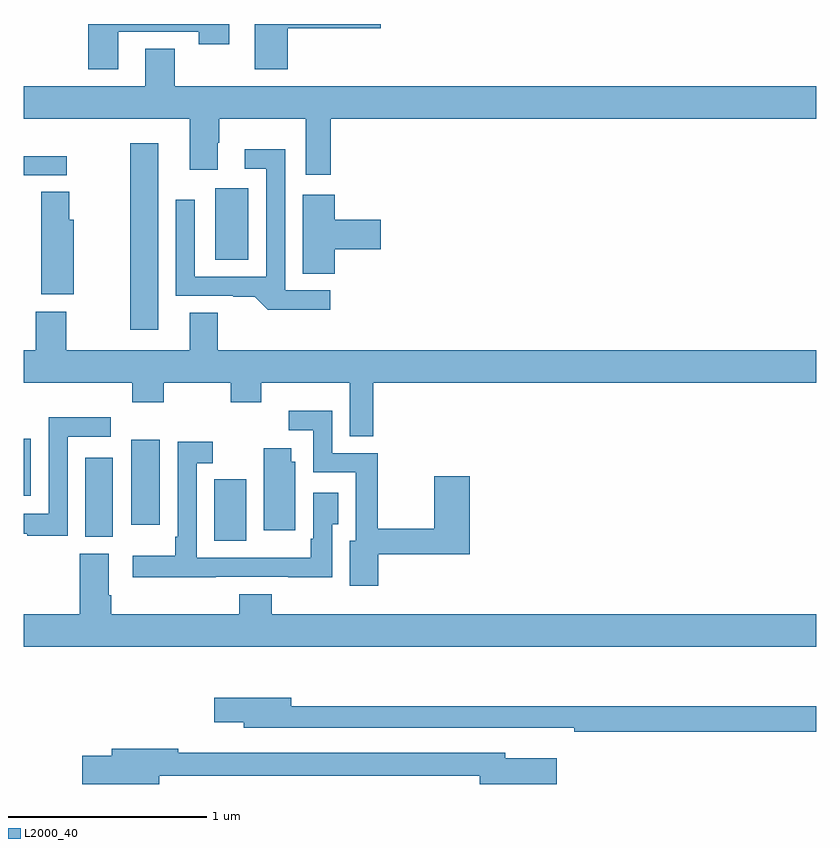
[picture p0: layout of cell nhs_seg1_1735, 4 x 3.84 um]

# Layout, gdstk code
import gdstk
lib = gdstk.Library(unit=1e-6, precision=1e-09)
def R(c, l, rs):  # rectangles x0, y0, x1, y1
    for r in rs: c.add(gdstk.rectangle(r[:2], r[2:], *l))
def P(c, l, *ps):  # polygons
    for p in ps: c.add(gdstk.Polygon(p, *l))
L2000_40 = (2000, 40)

nhs_seg1_1735 = lib.new_cell('nhs_seg1_1735')
R(nhs_seg1_1735, L2000_40, [(205.961,561.589,206.122,561.9), (205.31,561.61,205.45,562.009), (205.541,561.672,205.687,562.099), (205,561.818,205.036,562.105), (205.537,562.656,205.678,563.596), (205.967,563.008,206.134,563.371), (205,563.436,205.216,563.532)])
P(nhs_seg1_1735, L2000_40, [(206.332,564.178),(206.803,564.178),(206.803,564.199),(206.165,564.199),(206.165,563.97),(206.332,563.97)],
  [(205.477,564.159),(205.882,564.159),(205.882,564.096),(206.038,564.096),(206.038,564.199),(205.325,564.199),(205.325,563.97),(205.477,563.97)],
  [(206.549,563.72),(209,563.72),(209,563.884),(205.761,563.884),(205.761,564.074),(205.613,564.074),(205.613,563.884),(205,563.884),(205,563.72),(205.838,563.72),(205.838,563.463),(205.978,563.463),(205.978,563.6),(205.986,563.6),(205.986,563.72),(206.423,563.72),(206.423,563.439),(206.549,563.439)],
  [(206.548,562.854),(206.319,562.854),(206.319,563.566),(206.115,563.566),(206.115,563.469),(206.223,563.469),(206.223,562.923),(205.863,562.923),(205.863,563.311),(205.767,563.311),(205.767,562.827),(206.057,562.827),(206.057,562.822),(206.165,562.822),(206.231,562.757),(206.548,562.757)],
  [(205.251,563.211),(205.23,563.211),(205.23,563.351),(205.088,563.351),(205.088,562.835),(205.251,562.835)],
  [(206.57,563.063),(206.803,563.063),(206.803,563.21),(206.57,563.21),(206.57,563.338),(206.408,563.338),(206.408,562.939),(206.57,562.939)],
  [(206.764,562.388),(209,562.388),(209,562.552),(205.978,562.552),(205.978,562.742),(205.838,562.742),(205.838,562.552),(205.215,562.552),(205.215,562.747),(205.06,562.747),(205.06,562.552),(205,562.552),(205,562.388),(205.547,562.388),(205.547,562.289),(205.707,562.289),(205.707,562.388),(206.044,562.388),(206.044,562.289),(206.199,562.289),(206.199,562.388),(206.645,562.388),(206.645,562.117),(206.764,562.117)],
  [(206.789,561.522),(207.251,561.522),(207.251,561.916),(207.073,561.916),(207.073,561.65),(206.786,561.65),(206.786,562.032),(206.556,562.032),(206.556,562.246),(206.337,562.246),(206.337,562.149),(206.46,562.149),(206.46,561.936),(206.675,561.936),(206.675,561.591),(206.645,561.591),(206.645,561.363),(206.789,561.363)],
  [(205.221,562.116),(205.438,562.116),(205.438,562.213),(205.125,562.213),(205.125,561.727),(205,561.727),(205,561.626),(205.018,561.626),(205.018,561.616),(205.221,561.616)],
  [(205.969,561.408),(206.335,561.408),(206.335,561.407),(206.556,561.407),(206.556,561.673),(206.587,561.673),(206.587,561.832),(206.46,561.832),(206.46,561.601),(206.448,561.601),(206.448,561.505),(206.218,561.505),(206.218,561.504),(205.872,561.504),(205.872,561.981),(205.954,561.981),(205.954,562.09),(205.776,562.09),(205.776,561.61),(205.764,561.61),(205.764,561.514),(205.551,561.514),(205.551,561.407),(205.969,561.407)],
  [(206.371,561.99),(206.35,561.99),(206.35,562.057),(206.21,562.057),(206.21,561.642),(206.371,561.642)],
  [(209,561.22),(206.252,561.22),(206.252,561.319),(206.087,561.319),(206.087,561.22),(205.442,561.22),(205.442,561.316),(205.429,561.316),(205.429,561.525),(205.282,561.525),(205.282,561.22),(205,561.22),(205,561.056),(209,561.056)],
  [(209,560.755),(206.35,560.755),(206.35,560.797),(205.962,560.797),(205.962,560.675),(206.111,560.675),(206.111,560.646),(207.526,560.646),(207.526,560.645),(207.778,560.645),(207.778,560.626),(209,560.626)],
  [(205.684,560.404),(207.302,560.404),(207.302,560.362),(207.691,560.362),(207.691,560.491),(207.43,560.491),(207.43,560.52),(205.974,560.52),(205.974,560.521),(205.78,560.521),(205.78,560.54),(205.445,560.54),(205.445,560.504),(205.296,560.504),(205.296,560.362),(205.684,560.362)])

lib.write_gds('nhs_seg1_1735.gds')
